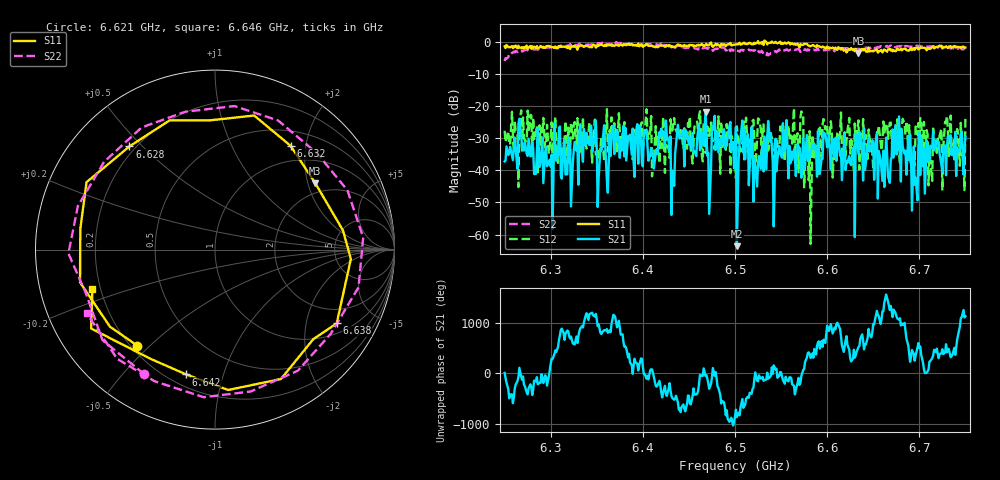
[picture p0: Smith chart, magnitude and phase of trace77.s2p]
# Hz S RI R 50
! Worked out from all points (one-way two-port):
!   401 points, 6.25 GHz to 6.75 GHz, reference 50 ohm
!   highest |S21| = -21.69 dB at 6.468 GHz (marker M1); lowest = -63.6 dB at 6.502 GHz (marker M2)
!   lowest |S11| = -3.5 dB at 6.634 GHz (marker M3), VSWR 5.06, Z = 83.4 + j112 ohm
!   |S11| at or under -10 dB: nowhere
!   |S22| runs from -5.9 to 0.0 dB; largest |S21 - S12| = 0.12
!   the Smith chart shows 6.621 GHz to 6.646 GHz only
!   S11 on the Smith chart (normalised r, x): 6.621 GHz: 0.23, -0.46; 6.628 GHz: 0.18, +0.46; 6.632 GHz: 0.73, +1.73; 6.638 GHz: 1.36, -3.02; 6.642 GHz: 0.27, -0.76; 6.646 GHz: 0.17, -0.15
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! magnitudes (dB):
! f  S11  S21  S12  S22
! 6.25 GHz  -1.3  -37.2  -27.7  -5.9
! 6.334 GHz  -1.0  -33.8  -31.2  -1.0
! 6.418 GHz  -1.2  -28.1  -37.8  -0.7
! 6.434 GHz  -1.6  -44.8  -23.7  -1.6
! 6.44 GHz  -1.2  -30.1  -29.4  -1.1
! 6.468 GHz  -0.9  -21.7  -34.5  -1.8
! 6.5 GHz  -0.7  -34.1  -35.5  -2.1
! 6.502 GHz  -0.8  -63.6  -26.3  -2.6
! 6.508 GHz  -0.6  -24.4  -31.0  -2.4
! 6.522 GHz  -0.5  -38.7  -40.2  -2.6
! 6.538 GHz  -0.2  -31.1  -30.8  -3.7
! 6.584 GHz  -1.0  -32.0  -28.9  -2.7
! 6.621 GHz  -3.2  -37.1  -30.7  -2.0
! 6.628 GHz  -2.5  -33.1  -32.6  -2.1
! 6.632 GHz  -2.9  -28.7  -28.8  -1.9
! 6.634 GHz  -3.5  -34.9  -24.4  -2.1
! 6.638 GHz  -2.0  -34.5  -34.6  -1.7
! 6.642 GHz  -2.9  -37.6  -29.0  -1.7
! 6.646 GHz  -2.9  -34.1  -29.9  -2.0
! 6.668 GHz  -2.2  -43.9  -25.2  -1.3
! 6.692 GHz  -2.5  -52.5  -36.6  -1.4
! 6.75 GHz  -1.7  -29.6  -23.8  -2.3
